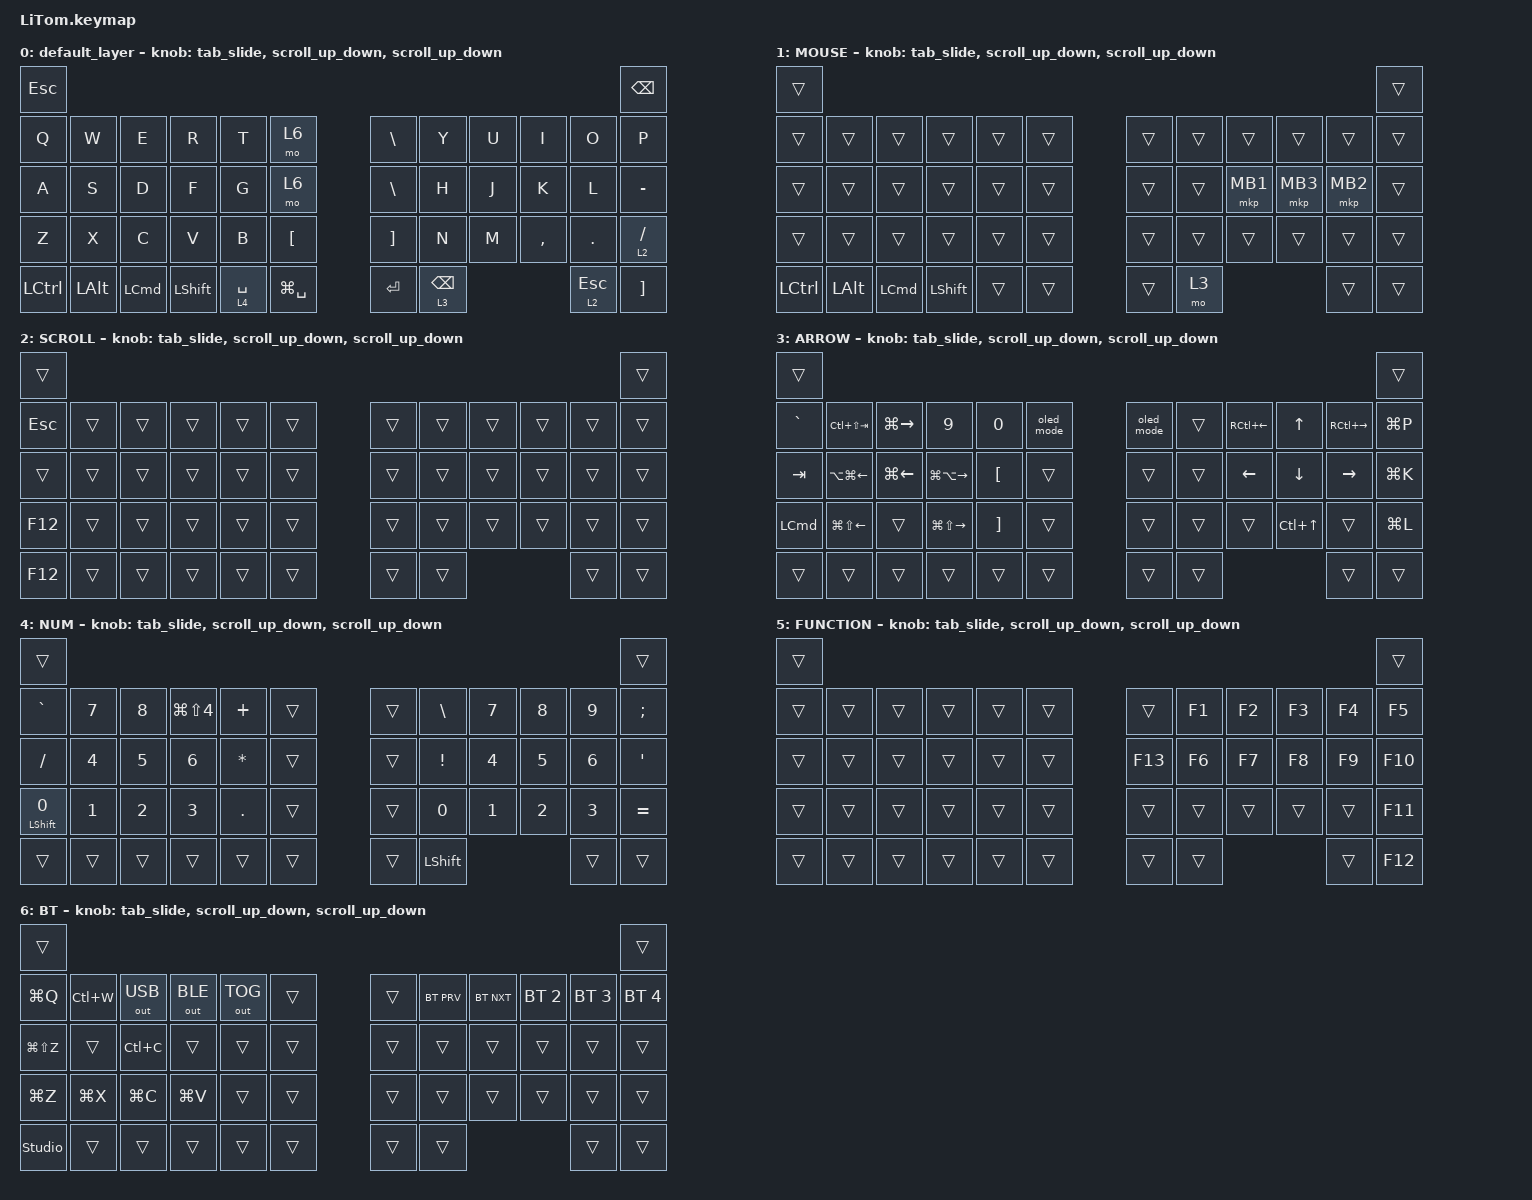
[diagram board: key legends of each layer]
#include <behaviors.dtsi>
#include <dt-bindings/zmk/bt.h>
#include <dt-bindings/zmk/keys.h>
#include <dt-bindings/zmk/outputs.h>
#include <dt-bindings/zmk/pointing.h>
#include <zephyr/dt-bindings/input/input-event-codes.h>
#include <input/processors/runtime-input-processor.dtsi>
#include <behaviors/runtime-input-processor.dtsi>
#include <behaviors/runtime_macro.dtsi>
#include <behaviors/runtime-sensor-rotate.dtsi>

&mouse_runtime_input_processor {
    temp-layer-enabled;
    temp-layer = <1>;
    temp-layer-activation-delay-ms = <0>;
    temp-layer-deactivation-delay-ms = <400>;
};

// 慣性スクロール：スクロール層でボールを転がして離すと、だんだん遅くなりながら続く。
// macOSのトラックパッドに合わせる：少しでも転がせば出る（しきい値は最小の1）。
// 10msごとに出し、速さを10msごとに3%減らす（時定数約0.33秒。macOSのトラックパッドの0.5秒より短め）。
// 速いときに出力を倍にする高速モードは、段差が大きくなるので切っている。
// 強さはZMK Studioでも変えられる（Studioで保存した値がこちらより優先）。
&scroll_runtime_input_processor {
    inertia-enabled;
    inertia-threshold = <1>;
    inertia-interval-ms = <10>;
    inertia-decay-percent = <3>;
    inertia-fast-threshold = <0>;
};

// エンコーダのスクロール（&msc）にも慣性を付ける。トラックボールとは別の処理にして、
// Studioでは "encoder" として別に調整できる。速さは変えない（1/1）。
// 1クリックずつの操作では出ないように、しきい値は3（続けて素早く回したときだけ）。
// 流れる量はトラックボールより控えめにする（10msごとに6%減、時定数約0.16秒）。
/ {
    encoder_runtime_input_processor: encoder_runtime_input_processor {
        compatible = "zmk,input-processor-runtime";
        processor-label = "encoder";
        type = <INPUT_EV_REL>;
        x-codes = <INPUT_REL_HWHEEL>;
        y-codes = <INPUT_REL_WHEEL>;
        scale-multiplier = <1>;
        scale-divisor = <1>;
        rotation-degrees = <0>;
        track-remainders;

        temp-layer-transparent-behavior = <&trans>;
        temp-layer-kp-behavior = <&kp>;
        temp-layer-keep-keycodes = <LEFT_CONTROL LEFT_SHIFT LEFT_ALT LEFT_GUI RIGHT_CONTROL RIGHT_SHIFT RIGHT_ALT RIGHT_GUI>;

        inertia-enabled;
        inertia-threshold = <3>;
        inertia-interval-ms = <10>;
        inertia-decay-percent = <6>;
        inertia-fast-threshold = <0>;

        #input-processor-cells = <0>;
    };
};

&msc_input_listener {
    input-processors = <&encoder_runtime_input_processor>;
};

#undef ZMK_POINTING_DEFAULT_SCRL_VAL
#define ZMK_POINTING_DEFAULT_SCRL_VAL 80

/ {
    behaviors {
        scroll_up_down: behavior_sensor_rotate_mouse_wheel_up_down {
            compatible = "zmk,behavior-runtime-sensor-rotate";
            label = "ENCODER_MSC_DOWN_UP";
            #sensor-binding-cells = <0>;
            cw-binding = <&msc SCRL_DOWN>;
            ccw-binding = <&msc SCRL_UP>;
            tap-ms = <20>;
        };

        tab_slide: behavior_sensor_rotate_tab_slide {
            compatible = "zmk,behavior-runtime-sensor-rotate";
            label = "ENCODER_TAB_SLIDE";
            #sensor-binding-cells = <0>;
            cw-binding = <&kp LA(LG(RIGHT_ARROW))>;
            ccw-binding = <&kp LA(LG(LEFT_ARROW))>;
            tap-ms = <20>;
        };
    };

    keymap: keymap {
        compatible = "zmk,keymap";

        default_layer {
            bindings = <
&kp ESCAPE                                                                &kp BACKSPACE
&kp Q      &kp W         &kp E             &kp R           &kp T        &mo 6                      &kp BACKSLASH      &kp Y            &kp U     &kp I        &kp O         &kp P
&kp A      &kp S         &kp D             &kp F           &kp G        &mo 6                      &kp BACKSLASH      &kp H            &kp J     &kp K        &kp L         &kp MINUS
&kp Z      &kp X         &kp C             &kp V           &kp B        &kp LEFT_BRACKET           &kp RIGHT_BRACKET  &kp N            &kp M     &kp COMMA    &kp DOT       &lt 2 SLASH
&kp LCTRL  &kp LEFT_ALT  &kp LEFT_COMMAND  &kp LEFT_SHIFT  &lt 4 SPACE  &kp LG(SPACE)              &kp ENTER          &lt 3 BACKSPACE                         &lt 2 ESCAPE  &kp RIGHT_BRACKET
            >;

            sensor-bindings = <
                &tab_slide
                &scroll_up_down
                &scroll_up_down
            >;
        };

        MOUSE {
            bindings = <
&trans                                                                                                                       &trans
&trans     &trans        &trans            &trans          &trans  &trans      &trans  &trans  &trans    &trans    &trans    &trans
&trans     &trans        &trans            &trans          &trans  &trans      &trans  &trans  &mkp MB1  &mkp MB3  &mkp MB2  &trans
&trans     &trans        &trans            &trans          &trans  &trans      &trans  &trans  &trans    &trans    &trans    &trans
&kp LCTRL  &kp LEFT_ALT  &kp LEFT_COMMAND  &kp LEFT_SHIFT  &trans  &trans      &trans  &mo 3                       &trans    &trans
            >;

            sensor-bindings = <
                &tab_slide
                &scroll_up_down
                &scroll_up_down
            >;
        };

        SCROLL {
            bindings = <
&trans                                                                                          &trans
&kp ESCAPE  &trans  &trans  &trans  &trans  &trans      &trans  &trans  &trans  &trans  &trans  &trans
&trans      &trans  &trans  &trans  &trans  &trans      &trans  &trans  &trans  &trans  &trans  &trans
&kp F12     &trans  &trans  &trans  &trans  &trans      &trans  &trans  &trans  &trans  &trans  &trans
&kp F12     &trans  &trans  &trans  &trans  &trans      &trans  &trans                  &trans  &trans
            >;

            sensor-bindings = <
                &tab_slide
                &scroll_up_down
                &scroll_up_down
            >;
        };

        ARROW {
            bindings = <
&trans                                                                                                                                                                                 &trans
&kp GRAVE  &kp LC(LS(TAB))         &kp LG(RIGHT)   &kp NUMBER_9             &kp NUMBER_0       &oled_mode      &oled_mode  &trans  &kp RC(LEFT_ARROW)  &kp UP_ARROW      &kp RC(RIGHT_ARROW)  &kp LG(P)
&kp TAB    &kp LA(LG(LEFT_ARROW))  &kp LG(LEFT)    &kp LG(LA(RIGHT_ARROW))  &kp LEFT_BRACKET   &trans      &trans  &trans  &kp LEFT_ARROW      &kp DOWN_ARROW    &kp RIGHT_ARROW      &kp LG(K)
&kp LCMD   &kp LG(LS(LEFT_ARROW))  &trans          &kp LG(LS(RIGHT_ARROW))  &kp RIGHT_BRACKET  &trans      &trans  &trans  &trans              &kp LC(UP_ARROW)  &trans               &kp LG(L)
&trans     &trans                  &trans          &trans                   &trans             &trans      &trans  &trans                                         &trans               &trans
            >;

            sensor-bindings = <
                &tab_slide
                &scroll_up_down
                &scroll_up_down
            >;
        };

        NUM {
            bindings = <
&trans                                                                                                                                                                  &trans
&kp GRAVE                &kp NUMBER_7  &kp NUMBER_8  &kp LG(LS(NUMBER_4))  &kp PLUS      &trans      &trans  &kp BACKSLASH    &kp NUMBER_7  &kp NUMBER_8  &kp NUMBER_9  &kp SEMICOLON
&kp SLASH                &kp NUMBER_4  &kp NUMBER_5  &kp NUMBER_6          &kp ASTERISK  &trans      &trans  &kp EXCLAMATION  &kp NUMBER_4  &kp NUMBER_5  &kp NUMBER_6  &kp SQT
&mt LEFT_SHIFT NUMBER_0  &kp NUMBER_1  &kp NUMBER_2  &kp NUMBER_3          &kp PERIOD    &trans      &trans  &kp NUMBER_0     &kp NUMBER_1  &kp NUMBER_2  &kp NUMBER_3  &kp EQUAL
&trans                   &trans        &trans        &trans                &trans        &trans      &trans  &kp LEFT_SHIFT                               &trans        &trans
            >;

            sensor-bindings = <
                &tab_slide
                &scroll_up_down
                &scroll_up_down
            >;
        };

        FUNCTION {
            bindings = <
&trans                                                                                       &trans
&trans  &trans  &trans  &trans  &trans  &trans      &trans  &kp F1  &kp F2  &kp F3  &kp F4  &kp F5
&trans  &trans  &trans  &trans  &trans  &trans      &kp F13  &kp F6  &kp F7  &kp F8  &kp F9  &kp F10
&trans  &trans  &trans  &trans  &trans  &trans      &trans   &trans  &trans  &trans  &trans  &kp F11
&trans  &trans  &trans  &trans  &trans  &trans      &trans   &trans                  &trans  &kp F12
            >;

            sensor-bindings = <
                &tab_slide
                &scroll_up_down
                &scroll_up_down
            >;
        };

        BT {
            bindings = <
&trans                                                                                                                                      &trans
&kp LG(Q)      &kp LC(W)  &out OUT_USB  &out OUT_BLE  &out OUT_TOG  &trans      &trans  &bt BT_PRV  &bt BT_NXT  &bt BT_SEL 2  &bt BT_SEL 3  &bt BT_SEL 4
&kp LG(LS(Z))  &trans     &kp LC(C)  &trans     &trans  &trans      &trans  &trans      &trans      &trans        &trans        &trans
&kp LG(Z)      &kp LG(X)  &kp LG(C)  &kp LG(V)  &trans  &trans      &trans  &trans      &trans      &trans        &trans        &trans
&studio_unlock &trans     &trans     &trans     &trans  &trans      &trans  &trans                                &trans        &trans
            >;

            sensor-bindings = <
                &tab_slide
                &scroll_up_down
                &scroll_up_down
            >;
        };
    };
};
